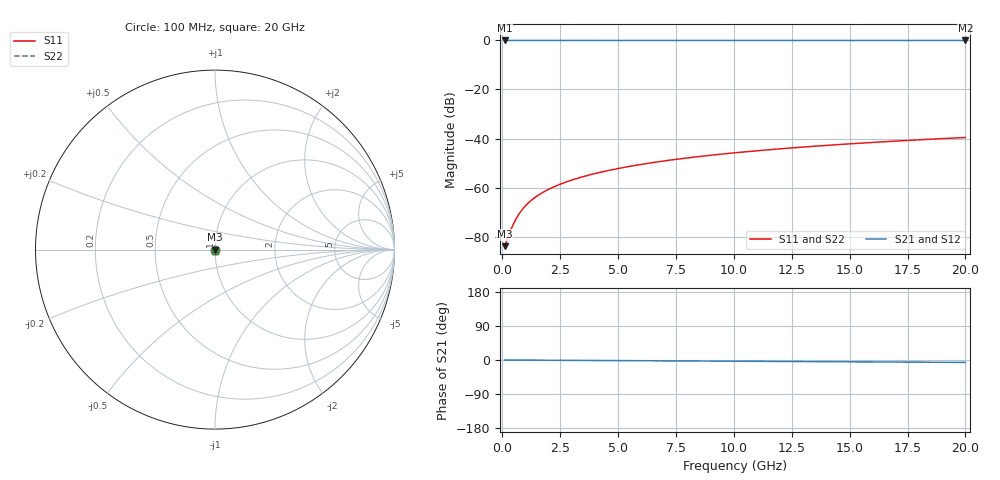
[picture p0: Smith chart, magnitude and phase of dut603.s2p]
! Touchstone file exported from HFSS 2026.1.0
!  File:  C:/ffzhzh/LocalFiles/Ansys_Project_Files/temp_train_TSV_603_1783025511_51716.aedt
!  Generated:  04:53:32 AM Jul  3, 2026
!  Design:  TSV
!  Project:  temp_train_TSV_603_1783025511_51716
! Variables:
!  h_bsmrdl = 2um
!  h_ox = 20um
!  h_rdl = 5um
!  h_sub = 59.6um
!  h_tmrdl = 5um
!  h_tsv = 59.6um
!  h_via = 3um
!  l_bsmrdl = 300um
!  l_sub = 429.52um
!  l_tmrdl = 200um
!  m_sub = 200um
!  pitch = 53.15um
!  r_tsv = 14.76um
!  s_tmrdl = 10um
!  w_bsmrdl = 18um
!  w_sub = 500um
!  w_tmrdl = 12um
!  x_tsv_center1 = 206um
!  x_tsv_center2 = 524um
!  x_tsv_center3 = 736um
!  x_tsv_center4 = 1054um
!  x_tsv_center5 = 1266um
!  x_tsv_center6 = 1584um
# GHz S MA R 50.000000
! Terminal data exported
! Port[1] = TSV1_1_T1
! Port[2] = TSV1_1_T2
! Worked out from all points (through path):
!   200 points, 100 MHz to 20 GHz, reference 50 ohm
!   highest |S21| = 0.00 dB at 100 MHz (marker M1); lowest = 0.0 dB at 20 GHz (marker M2)
!   lowest |S11| = -83.9 dB at 100 MHz (marker M3), VSWR 1.00, Z = 50 - j0.00207 ohm
!   |S11| at or under -10 dB: start of sweep to end of sweep
!   |S22| runs from -83.9 to -39.6 dB; largest |S21 - S12| = 2.2e-15
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0.1  6.365e-05 -19.0  0.9999 -0.0  0.9999 -0.0  6.365e-05 -19.0
! Gamma 0 0 0 0
! Port Impedance 50 0 50 0
0.2  8.323e-05 -32.1  0.9999 -0.1  0.9999 -0.1  8.323e-05 -32.1
0.3  0.0001121 -40.3  0.9999 -0.1  0.9999 -0.1  0.0001121 -40.3
0.4  0.0001477 -45.9  0.9999 -0.1  0.9999 -0.1  0.0001477 -45.9
0.5  0.0001882 -50.2  0.9999 -0.2  0.9999 -0.2  0.0001882 -50.2
0.6  0.0002321 -53.7  0.9999 -0.2  0.9999 -0.2  0.0002321 -53.7
0.8  0.0003259 -59.3  0.9998 -0.3  0.9998 -0.3  0.0003259 -59.3
0.9  0.0003744 -61.6  0.9998 -0.3  0.9998 -0.3  0.0003744 -61.6
1.1  0.0004728 -65.2  0.9998 -0.4  0.9998 -0.4  0.0004728 -65.2
1.4  0.0006216 -69.3  0.9998 -0.5  0.9998 -0.5  0.0006216 -69.3
1.8  0.0008204 -73.0  0.9998 -0.6  0.9998 -0.6  0.0008204 -73.0
2.3  0.001069 -76.0  0.9997 -0.7  0.9997 -0.7  0.001069 -76.0
2.9  0.001369 -78.3  0.9997 -0.9  0.9997 -0.9  0.001369 -78.3
3.5  0.001672 -79.9  0.9997 -1.1  0.9997 -1.1  0.001672 -79.9
4.2  0.002029 -81.2  0.9996 -1.3  0.9996 -1.3  0.002029 -81.2
5  0.002442 -82.4  0.9996 -1.6  0.9996 -1.6  0.002442 -82.4
6.8  0.003385 -84.4  0.9995 -2.2  0.9995 -2.2  0.003385 -84.4
8.3  0.004181 -85.7  0.9995 -2.6  0.9995 -2.6  0.004181 -85.7
10.1  0.005142 -87.0  0.9994 -3.2  0.9994 -3.2  0.005142 -87.0
13.4  0.006915 -89.0  0.9993 -4.3  0.9993 -4.3  0.006915 -89.0
16.7  0.008701 -90.6  0.9992 -5.3  0.9992 -5.3  0.008701 -90.6
20  0.0105 -92.0  0.9992 -6.3  0.9992 -6.3  0.0105 -92.0
